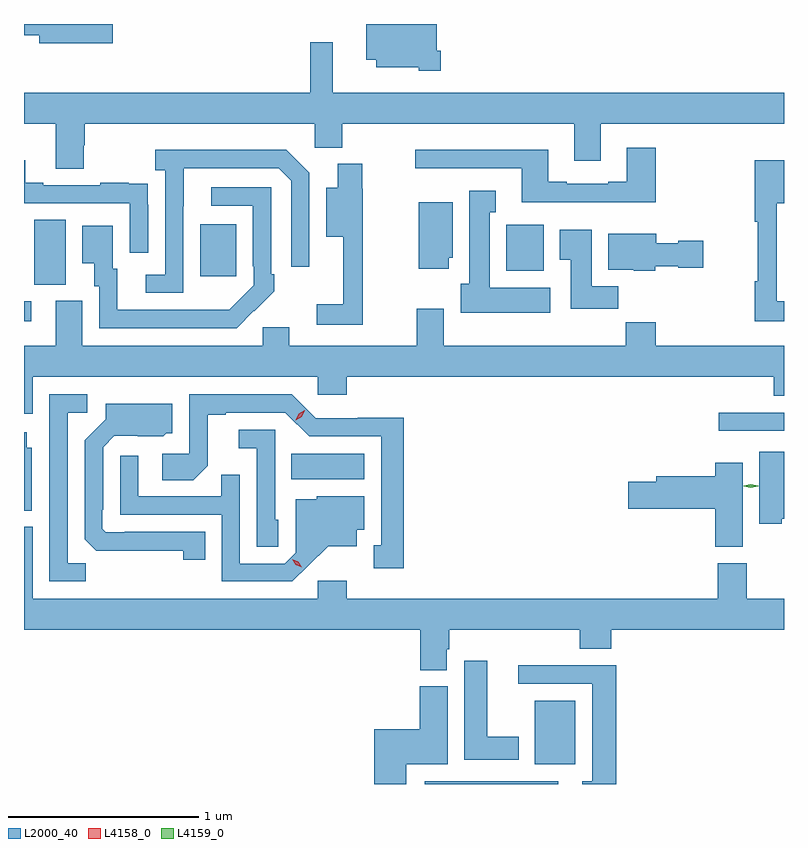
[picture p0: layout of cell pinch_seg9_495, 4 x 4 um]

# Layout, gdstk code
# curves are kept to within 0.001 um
import gdstk
lib = gdstk.Library(unit=1e-6, precision=1e-09)
def R(c, l, rs):  # rectangles x0, y0, x1, y1
    for r in rs: c.add(gdstk.rectangle(r[:2], r[2:], *l))
def P(c, l, *ps):  # polygons
    for p in ps: c.add(gdstk.Polygon(p, *l))
L2000_40 = (2000, 40)
L4158_0 = (4158, 0)
L4159_0 = (4159, 0)

pinch_seg9_495 = lib.new_cell('pinch_seg9_495')
R(pinch_seg9_495, L2000_40, [(275.489,1195.609,276.19,1195.623), (276.068,1195.712,276.28,1196.047), (274.786,1197.212,275.17,1197.346), (277.035,1197.468,277.379,1197.564), (273.379,1198.044,273.418,1198.149), (273.434,1198.237,273.598,1198.58), (274.307,1198.281,274.495,1198.555), (275.918,1198.31,276.115,1198.552)])
P(pinch_seg9_495, L2000_40, [(273.847,1199.609),(273.379,1199.609),(273.379,1199.55),(273.458,1199.55),(273.458,1199.507),(273.847,1199.507)],
  [(275.573,1199.467),(275.551,1199.467),(275.551,1199.609),(275.18,1199.609),(275.18,1199.42),(275.234,1199.42),(275.234,1199.381),(275.457,1199.381),(275.457,1199.363),(275.573,1199.363)],
  [(273.693,1198.971),(273.698,1198.971),(273.698,1199.084),(274.908,1199.084),(274.908,1198.958),(275.055,1198.958),(275.055,1199.084),(276.275,1199.084),(276.275,1198.89),(276.415,1198.89),(276.415,1199.084),(277.379,1199.084),(277.379,1199.248),(275.004,1199.248),(275.004,1199.512),(274.885,1199.512),(274.885,1199.248),(273.379,1199.248),(273.379,1199.084),(273.545,1199.084),(273.545,1198.846),(273.693,1198.846)],
  [(276.704,1198.957),(276.551,1198.957),(276.551,1198.78),(276.455,1198.78),(276.455,1198.767),(276.235,1198.767),(276.235,1198.78),(276.139,1198.78),(276.139,1198.948),(275.439,1198.948),(275.439,1198.851),(275.999,1198.851),(275.999,1198.67),(276.704,1198.67)],
  [(274.218,1198.651),(274.219,1198.851),(274.719,1198.851),(274.785,1198.785),(274.785,1198.332),(274.881,1198.332),(274.881,1198.827),(274.76,1198.948),(274.071,1198.948),(274.071,1198.838),(274.122,1198.838),(274.122,1198.29),(274.02,1198.29),(274.02,1198.194),(274.218,1198.194)],
  [(274.032,1198.658),(274.031,1198.658),(274.031,1198.767),(273.929,1198.767),(273.929,1198.774),(273.781,1198.774),(273.781,1198.761),(273.481,1198.761),(273.481,1198.774),(273.385,1198.774),(273.385,1198.891),(273.379,1198.891),(273.379,1198.665),(273.936,1198.665),(273.936,1198.404),(274.032,1198.404)],
  [(277.379,1198.149),(277.341,1198.149),(277.341,1198.665),(277.379,1198.665),(277.379,1198.891),(277.225,1198.891),(277.225,1198.568),(277.24,1198.568),(277.24,1198.256),(277.225,1198.256),(277.225,1198.044),(277.379,1198.044)],
  [(275.162,1198.743),(275.158,1198.743),(275.158,1198.873),(275.03,1198.873),(275.03,1198.747),(274.97,1198.747),(274.97,1198.49),(275.06,1198.49),(275.06,1198.135),(274.92,1198.135),(274.92,1198.026),(275.162,1198.026)],
  [(274.589,1198.099),(274.59,1198.098),(274.695,1198.203),(274.695,1198.291),(274.68,1198.291),(274.68,1198.749),(274.365,1198.749),(274.365,1198.653),(274.584,1198.653),(274.584,1198.333),(274.587,1198.333),(274.587,1198.233),(274.459,1198.105),(273.871,1198.104),(273.871,1198.32),(273.847,1198.32),(273.847,1198.546),(273.686,1198.546),(273.686,1198.349),(273.749,1198.349),(273.749,1198.23),(273.774,1198.23),(273.774,1198.008),(274.498,1198.008)],
  [(276.148,1198.222),(275.83,1198.222),(275.83,1198.619),(275.863,1198.619),(275.863,1198.732),(275.723,1198.732),(275.723,1198.242),(275.678,1198.242),(275.678,1198.088),(276.148,1198.088)],
  [(275.614,1198.38),(275.635,1198.38),(275.635,1198.672),(275.456,1198.672),(275.456,1198.32),(275.614,1198.32)],
  [(276.506,1198.228),(276.367,1198.228),(276.367,1198.525),(276.2,1198.525),(276.2,1198.369),(276.257,1198.369),(276.257,1198.11),(276.506,1198.11)],
  [(276.702,1198.334),(276.822,1198.334),(276.822,1198.327),(276.955,1198.327),(276.955,1198.469),(276.822,1198.469),(276.822,1198.456),(276.706,1198.456),(276.706,1198.504),(276.455,1198.504),(276.455,1198.316),(276.588,1198.316),(276.588,1198.31),(276.702,1198.31)],
  [(273.424,1197.752),(274.926,1197.752),(274.926,1197.659),(275.078,1197.659),(275.078,1197.752),(277.325,1197.752),(277.325,1197.653),(277.379,1197.653),(277.379,1197.916),(276.704,1197.916),(276.704,1198.04),(276.547,1198.04),(276.547,1197.916),(275.587,1197.916),(275.587,1198.111),(275.447,1198.111),(275.447,1197.916),(274.774,1197.916),(274.774,1198.014),(274.635,1198.014),(274.635,1197.916),(273.685,1197.916),(273.685,1198.152),(273.545,1198.152),(273.545,1197.916),(273.379,1197.916),(273.379,1197.558),(273.424,1197.558)],
  [(273.705,1196.771),(273.609,1196.771),(273.609,1197.564),(273.712,1197.564),(273.712,1197.66),(273.513,1197.66),(273.513,1196.676),(273.705,1196.676)],
  [(275.377,1197.536),(275.136,1197.536),(275.136,1197.534),(274.914,1197.534),(274.788,1197.66),(274.248,1197.66),(274.248,1197.348),(274.107,1197.348),(274.107,1197.208),(274.271,1197.208),(274.347,1197.284),(274.347,1197.552),(274.441,1197.552),(274.441,1197.564),(274.755,1197.564),(274.881,1197.438),(275.258,1197.438),(275.258,1196.865),(275.219,1196.865),(275.219,1196.745),(275.377,1196.745)],
  [(274.334,1196.937),(273.91,1196.937),(273.91,1196.934),(273.81,1196.934),(273.792,1196.952),(273.792,1197.052),(273.795,1197.052),(273.795,1197.381),(273.855,1197.441),(274.112,1197.44),(274.128,1197.456),(274.159,1197.456),(274.159,1197.61),(273.809,1197.61),(273.809,1197.528),(273.699,1197.418),(273.699,1196.896),(273.758,1196.837),(274.216,1196.836),(274.216,1196.79),(274.334,1196.79)],
  [(274.716,1197),(274.701,1197),(274.701,1197.474),(274.509,1197.474),(274.509,1197.377),(274.605,1197.377),(274.605,1196.857),(274.716,1196.857)],
  [(273.421,1197.378),(273.394,1197.378),(273.394,1197.46),(273.379,1197.46),(273.379,1197.047),(273.421,1197.047)],
  [(277.368,1197.005),(277.379,1197.005),(277.379,1197.358),(277.25,1197.358),(277.25,1196.978),(277.368,1196.978)],
  [(274.876,1196.759),(274.979,1196.861),(275.131,1196.861),(275.131,1196.948),(275.17,1196.948),(275.17,1197.124),(274.92,1197.124),(274.92,1197.109),(274.809,1197.109),(274.809,1196.826),(274.752,1196.769),(274.515,1196.769),(274.515,1197.236),(274.417,1197.236),(274.417,1197.123),(273.981,1197.123),(273.981,1197.337),(273.885,1197.337),(273.885,1197.027),(274.419,1197.027),(274.419,1196.676),(274.792,1196.676)],
  [(277.162,1197.301),(277.016,1197.301),(277.016,1197.23),(276.707,1197.23),(276.707,1197.2),(276.558,1197.2),(276.558,1197.058),(277.016,1197.058),(277.016,1196.857),(277.162,1196.857)],
  [(275.605,1196.319),(275.618,1196.319),(275.618,1196.42),(276.305,1196.42),(276.305,1196.321),(276.47,1196.321),(276.47,1196.42),(277.379,1196.42),(277.379,1196.584),(277.183,1196.584),(277.183,1196.772),(277.031,1196.772),(277.031,1196.584),(275.078,1196.584),(275.078,1196.68),(274.926,1196.68),(274.926,1196.584),(273.424,1196.584),(273.424,1196.962),(273.379,1196.962),(273.379,1196.42),(275.465,1196.42),(275.465,1196.209),(275.605,1196.209)],
  [(275.983,1195.858),(275.818,1195.858),(275.818,1196.257),(275.696,1196.257),(275.696,1195.736),(275.983,1195.736)],
  [(276.497,1196.234),(275.979,1196.234),(275.979,1196.136),(276.371,1196.136),(276.371,1195.624),(276.317,1195.624),(276.317,1195.609),(276.497,1195.609)],
  [(275.392,1195.712),(275.608,1195.712),(275.608,1196.124),(275.462,1196.124),(275.462,1195.897),(275.222,1195.897),(275.222,1195.609),(275.392,1195.609)])
P(pinch_seg9_495, L4158_0, [(274.809,1197.524),(274.809,1197.524),(274.826,1197.557),(274.857,1197.576),(274.857,1197.576),(274.857,1197.576),(274.84,1197.543),(274.809,1197.524)],
  [(274.841,1196.749),(274.81,1196.763),(274.792,1196.792),(274.792,1196.793),(274.792,1196.793),(274.823,1196.778),(274.841,1196.749),(274.841,1196.749)])
P(pinch_seg9_495, L4159_0, [(277.205,1197.168),(277.167,1197.177),(277.167,1197.178),(277.167,1197.178),(277.205,1197.187),(277.243,1197.178),(277.243,1197.177),(277.243,1197.177)])

lib.write_gds('pinch_seg9_495.gds')
